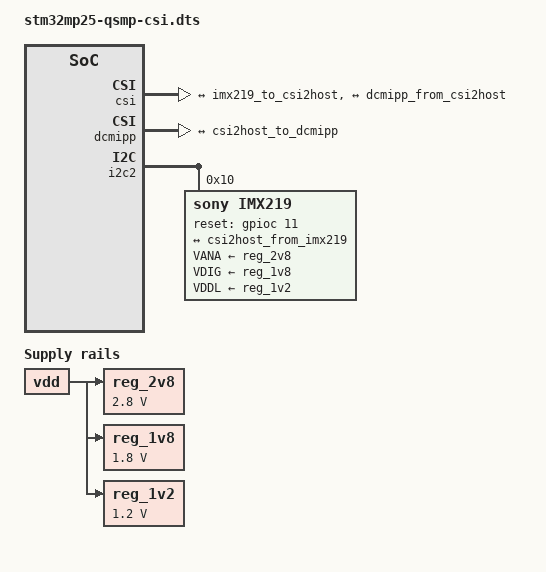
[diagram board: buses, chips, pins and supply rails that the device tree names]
// SPDX-License-Identifier: (GPL-2.0-only OR BSD-3-Clause)
/*
 * Copyright (C) 2024 Lothar Waßmann <LW@KARO-electronics.de>
 */

/dts-v1/;
/plugin/;

#include <dt-bindings/clock/st,stm32mp25-rcc.h>
#include <dt-bindings/gpio/gpio.h>
#include <dt-bindings/pinctrl/stm32-pinfunc.h>

&{/chosen} {
	overlays {
		qsmp-csi;
	};
};

&{/} {
	clocks {
		clk_csi: csi-clock {
			compatible = "fixed-clock";
			#clock-cells = <0>;
			clock-frequency = <24000000>;
			clock-output-names = "cam24m";
		};
	};

	reg_2v8: regulator-2v8 {
		compatible = "regulator-fixed";
		regulator-name = "2V8";
		regulator-min-microvolt = <2800000>;
		regulator-max-microvolt = <2800000>;
		regulator-always-on;
		vin-supply = <&vdd>;
	};

	reg_1v8: regulator-1v8 {
		compatible = "regulator-fixed";
		regulator-name = "1V8";
		regulator-min-microvolt = <1800000>;
		regulator-max-microvolt = <1800000>;
		regulator-always-on;
		vin-supply = <&vdd>;
	};

	reg_1v2: regulator-1v2 {
		compatible = "regulator-fixed";
		regulator-name = "1V2";
		regulator-min-microvolt = <1200000>;
		regulator-max-microvolt = <1200000>;
		regulator-always-on;
		vin-supply = <&vdd>;
	};
};

&csi {
	vdd-supply =  <&scmi_vddcore>;
	vdda18-supply = <&scmi_v1v8>;
	status = "okay";

	ports {
		#address-cells = <1>;
		#size-cells = <0>;

		port@0 {
			reg = <0>;

			csi2host_from_imx219: endpoint {
				remote-endpoint = <&imx219_to_csi2host>;
				data-lanes = <0 1>;
				bus-type = <4>;
			};
		};

		port@1 {
			reg = <1>;

			csi2host_to_dcmipp: endpoint {
				remote-endpoint = <&dcmipp_from_csi2host>;
			};
		};
	};
};

&dcmipp {
	status = "okay";

	port {
		dcmipp_from_csi2host: endpoint {
			remote-endpoint = <&csi2host_to_dcmipp>;
			bus-type = <4>; /* CSI2_DPHY */
		};
	};
};

&i2c2 {
	imx219: csi-camera@10 {
		compatible = "sony,imx219";
		reg = <0x10>;
		clocks = <&clk_csi>;
		reset-gpios = <&gpioc 11 GPIO_ACTIVE_HIGH>;
		VANA-supply = <&reg_2v8>;   /* 2.8v */
		VDIG-supply = <&reg_1v8>;   /* 1.8v */
		VDDL-supply = <&reg_1v2>;   /* 1.2v */

		port {
			imx219_to_csi2host: endpoint {
				remote-endpoint = <&csi2host_from_imx219>;
				clock-lanes = <0>;
				data-lanes = <1 2>;
				link-frequencies = /bits/ 64 <456000000>;
			};
		};
	};
};
